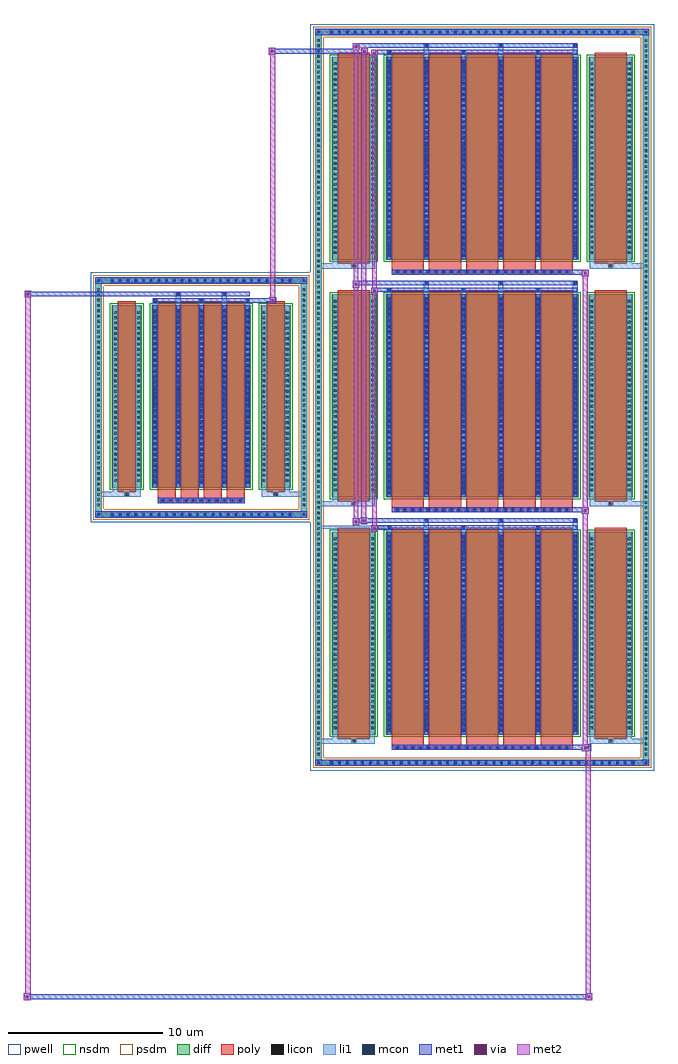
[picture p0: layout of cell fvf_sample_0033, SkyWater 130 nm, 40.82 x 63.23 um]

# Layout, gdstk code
import gdstk
lib = gdstk.Library(unit=1e-6, precision=1e-09)
def R(c, l, rs):  # rectangles x0, y0, x1, y1
    for r in rs: c.add(gdstk.rectangle(r[:2], r[2:], *l))
def A(c, l, x, y, w, h, nx, ny, dx, dy):  # array of equal rectangles
    R(c, l, [(x+i*dx, y+j*dy, x+i*dx+w, y+j*dy+h) for i in range(nx) for j in range(ny)])
def P(c, l, *ps):  # polygons
    for p in ps: c.add(gdstk.Polygon(p, *l))
pwell = (64, 44)
diff = (65, 20)
poly = (66, 20)
licon = (66, 44)
li1 = (67, 20)
mcon = (67, 44)
met1 = (68, 20)
via = (68, 44)
met2 = (69, 20)
nsdm = (93, 44)
psdm = (94, 20)

fvf_sample_0033 = lib.new_cell('fvf_sample_0033')
R(fvf_sample_0033, pwell, [(7.072,-24.188,29.332,24.188), (-7.172,-8.095,7.172,8.095)])
A(fvf_sample_0033, diff, 8.247, -23.878, 0.41, 0.41, 40, 2, 0.5, 47.346)
A(fvf_sample_0033, diff, 7.382, -23.325, 0.41, 0.41, 1, 137, 0, 0.34)
A(fvf_sample_0033, diff, 28.612, -23.325, 0.41, 0.41, 1, 137, 0, 0.34)
A(fvf_sample_0033, diff, 8.452, -21.857, 2.86, 13.146, 1, 3, 0, 15.392)
A(fvf_sample_0033, diff, 11.952, -21.857, 12.5, 13.146, 1, 3, 0, 15.392)
A(fvf_sample_0033, diff, 25.092, -21.857, 2.86, 13.146, 1, 3, 0, 15.392)
A(fvf_sample_0033, diff, -5.955, -7.785, 0.41, 0.41, 24, 2, 0.5, 15.16)
A(fvf_sample_0033, diff, -6.862, -7.175, 0.41, 0.41, 1, 42, 0, 0.34)
A(fvf_sample_0033, diff, 6.452, -7.175, 0.41, 0.41, 1, 42, 0, 0.34)
R(fvf_sample_0033, diff, [(8.247,-23.878,28.157,-23.468), (7.382,-23.325,7.792,23.325), (28.612,-23.325,29.022,23.325), (-5.955,-7.785,5.955,-7.375), (-6.862,-7.175,-6.452,7.175), (6.452,-7.175,6.862,7.175), (-5.791,-5.863,-3.849,5.979), (-3.209,-5.863,3.209,5.979), (3.849,-5.863,5.791,5.979), (-5.955,7.375,5.955,7.785), (8.247,23.468,28.157,23.878)])
P(fvf_sample_0033, diff, [(6.862,7.785),(-6.862,7.785),(-6.862,-7.375),(-6.452,-7.375),(-6.452,7.375),(6.452,7.375),(6.452,-7.375),(-6.452,-7.375),(-6.862,-7.375),(-6.862,-7.785),(6.862,-7.785)],
  [(29.022,23.878),(7.382,23.878),(7.382,-23.468),(7.792,-23.468),(7.792,23.468),(28.612,23.468),(28.612,-23.468),(7.792,-23.468),(7.382,-23.468),(7.382,-23.878),(29.022,-23.878)])
A(fvf_sample_0033, poly, 12.342, -22.838, 11.72, 0.33, 1, 3, 0, 15.392)
A(fvf_sample_0033, poly, 12.537, -22.838, 0.33, 0.33, 23, 3, 0.5, 15.392)
A(fvf_sample_0033, poly, 12.342, -22.508, 2.08, 0.401, 5, 3, 2.41, 15.392)
A(fvf_sample_0033, poly, 8.842, -22.107, 2.08, 13.646, 1, 3, 0, 15.392)
A(fvf_sample_0033, poly, 12.342, -22.107, 2.08, 13.646, 5, 3, 2.41, 15.392)
A(fvf_sample_0033, poly, 25.482, -22.107, 2.08, 13.646, 1, 3, 0, 15.392)
A(fvf_sample_0033, poly, -2.665, -6.844, 0.33, 0.33, 11, 1, 0.5, 0)
A(fvf_sample_0033, poly, -2.819, -6.514, 1.162, 0.401, 4, 1, 1.492, 0)
A(fvf_sample_0033, poly, -2.819, -6.113, 1.162, 12.342, 4, 1, 1.492, 0)
R(fvf_sample_0033, poly, [(9.717,-22.437,10.047,-22.107), (9.717,-22.437,10.047,-22.107), (26.357,-22.437,26.687,-22.107), (26.357,-22.437,26.687,-22.107), (9.717,-7.045,10.047,-6.715), (9.717,-7.045,10.047,-6.715), (26.357,-7.045,26.687,-6.715), (26.357,-7.045,26.687,-6.715), (-2.819,-6.844,2.819,-6.514), (-4.985,-6.443,-4.655,-6.113), (-4.985,-6.443,-4.655,-6.113), (4.655,-6.443,4.985,-6.113), (4.655,-6.443,4.985,-6.113), (-5.401,-6.113,-4.239,6.229), (4.239,-6.113,5.401,6.229), (9.717,8.347,10.047,8.677), (9.717,8.347,10.047,8.677), (26.357,8.347,26.687,8.677), (26.357,8.347,26.687,8.677)])
A(fvf_sample_0033, licon, 8.367, -23.758, 0.17, 0.17, 40, 2, 0.5, 47.346)
A(fvf_sample_0033, licon, 7.502, -23.205, 0.17, 0.17, 1, 137, 0, 0.34)
A(fvf_sample_0033, licon, 28.732, -23.205, 0.17, 0.17, 1, 137, 0, 0.34)
A(fvf_sample_0033, licon, 12.617, -22.758, 0.17, 0.17, 23, 3, 0.5, 15.392)
A(fvf_sample_0033, licon, 9.797, -22.357, 0.17, 0.17, 1, 3, 0, 15.392)
A(fvf_sample_0033, licon, 26.437, -22.357, 0.17, 0.17, 1, 3, 0, 15.392)
A(fvf_sample_0033, licon, 8.592, -21.489, 0.17, 0.17, 1, 37, 0, 0.34)
A(fvf_sample_0033, licon, 11.002, -21.489, 0.17, 0.17, 1, 37, 0, 0.34)
A(fvf_sample_0033, licon, 12.092, -21.489, 0.17, 0.17, 6, 37, 2.41, 0.34)
A(fvf_sample_0033, licon, 25.232, -21.489, 0.17, 0.17, 1, 37, 0, 0.34)
A(fvf_sample_0033, licon, 27.642, -21.489, 0.17, 0.17, 1, 37, 0, 0.34)
A(fvf_sample_0033, licon, -5.835, -7.665, 0.17, 0.17, 24, 2, 0.5, 15.16)
A(fvf_sample_0033, licon, -6.742, -7.055, 0.17, 0.17, 1, 42, 0, 0.34)
A(fvf_sample_0033, licon, 6.572, -7.055, 0.17, 0.17, 1, 42, 0, 0.34)
A(fvf_sample_0033, licon, -2.585, -6.764, 0.17, 0.17, 11, 1, 0.5, 0)
A(fvf_sample_0033, licon, 8.592, -6.097, 0.17, 0.17, 1, 37, 0, 0.34)
A(fvf_sample_0033, licon, 11.002, -6.097, 0.17, 0.17, 1, 37, 0, 0.34)
A(fvf_sample_0033, licon, 12.092, -6.097, 0.17, 0.17, 6, 37, 2.41, 0.34)
A(fvf_sample_0033, licon, 25.232, -6.097, 0.17, 0.17, 1, 37, 0, 0.34)
A(fvf_sample_0033, licon, 27.642, -6.097, 0.17, 0.17, 1, 37, 0, 0.34)
A(fvf_sample_0033, licon, -5.651, -5.467, 0.17, 0.17, 1, 33, 0, 0.34)
A(fvf_sample_0033, licon, -4.159, -5.467, 0.17, 0.17, 1, 33, 0, 0.34)
A(fvf_sample_0033, licon, -3.069, -5.467, 0.17, 0.17, 5, 33, 1.492, 0.34)
A(fvf_sample_0033, licon, 3.989, -5.467, 0.17, 0.17, 1, 33, 0, 0.34)
A(fvf_sample_0033, licon, 5.481, -5.467, 0.17, 0.17, 1, 33, 0, 0.34)
A(fvf_sample_0033, licon, 8.592, 9.295, 0.17, 0.17, 1, 37, 0, 0.34)
A(fvf_sample_0033, licon, 11.002, 9.295, 0.17, 0.17, 1, 37, 0, 0.34)
A(fvf_sample_0033, licon, 12.092, 9.295, 0.17, 0.17, 6, 37, 2.41, 0.34)
A(fvf_sample_0033, licon, 25.232, 9.295, 0.17, 0.17, 1, 37, 0, 0.34)
A(fvf_sample_0033, licon, 27.642, 9.295, 0.17, 0.17, 1, 37, 0, 0.34)
R(fvf_sample_0033, licon, [(-4.905,-6.363,-4.735,-6.193), (4.735,-6.363,4.905,-6.193)])
A(fvf_sample_0033, li1, 8.287, -23.838, 0.33, 0.33, 40, 2, 0.5, 47.346)
A(fvf_sample_0033, li1, 7.422, -23.285, 0.33, 0.33, 1, 137, 0, 0.34)
A(fvf_sample_0033, li1, 28.652, -23.285, 0.33, 0.33, 1, 137, 0, 0.34)
A(fvf_sample_0033, li1, 12.537, -22.838, 0.33, 0.33, 23, 3, 0.5, 15.392)
A(fvf_sample_0033, li1, 7.382, -22.437, 2.335, 0.33, 1, 3, 0, 15.392)
A(fvf_sample_0033, li1, 8.512, -22.437, 0.33, 0.58, 1, 3, 0, 15.392)
A(fvf_sample_0033, li1, 8.512, -22.437, 1.205, 0.33, 1, 3, 0, 15.392)
A(fvf_sample_0033, li1, 9.717, -22.437, 0.33, 0.33, 1, 3, 0, 15.392)
A(fvf_sample_0033, li1, 10.047, -22.437, 1.205, 0.33, 1, 3, 0, 15.392)
A(fvf_sample_0033, li1, 10.922, -22.437, 0.33, 0.58, 1, 3, 0, 15.392)
A(fvf_sample_0033, li1, 25.152, -22.437, 0.33, 0.58, 1, 3, 0, 15.392)
A(fvf_sample_0033, li1, 25.152, -22.437, 1.205, 0.33, 1, 3, 0, 15.392)
A(fvf_sample_0033, li1, 26.357, -22.437, 0.33, 0.33, 1, 3, 0, 15.392)
A(fvf_sample_0033, li1, 26.357, -22.437, 2.665, 0.33, 1, 3, 0, 15.392)
A(fvf_sample_0033, li1, 26.687, -22.437, 1.205, 0.33, 1, 3, 0, 15.392)
A(fvf_sample_0033, li1, 27.562, -22.437, 0.33, 0.58, 1, 3, 0, 15.392)
A(fvf_sample_0033, li1, 8.512, -21.857, 0.33, 13.146, 1, 3, 0, 15.392)
A(fvf_sample_0033, li1, 10.922, -21.857, 0.33, 13.146, 1, 3, 0, 15.392)
A(fvf_sample_0033, li1, 12.012, -21.857, 0.33, 13.146, 6, 3, 2.41, 15.392)
A(fvf_sample_0033, li1, 25.152, -21.857, 0.33, 13.146, 1, 3, 0, 15.392)
A(fvf_sample_0033, li1, 27.562, -21.857, 0.33, 13.146, 1, 3, 0, 15.392)
A(fvf_sample_0033, li1, 12.092, -21.669, 0.17, 0.17, 6, 36, 2.41, 0.36)
A(fvf_sample_0033, li1, 12.092, -21.669, 0.17, 12.77, 6, 3, 2.41, 15.392)
A(fvf_sample_0033, li1, 8.512, -21.569, 0.33, 0.33, 1, 37, 0, 0.34)
A(fvf_sample_0033, li1, 10.922, -21.569, 0.33, 0.33, 1, 37, 0, 0.34)
A(fvf_sample_0033, li1, 12.012, -21.569, 0.33, 0.33, 6, 37, 2.41, 0.34)
A(fvf_sample_0033, li1, 25.152, -21.569, 0.33, 0.33, 1, 37, 0, 0.34)
A(fvf_sample_0033, li1, 27.562, -21.569, 0.33, 0.33, 1, 37, 0, 0.34)
A(fvf_sample_0033, li1, 12.012, -8.711, 0.33, 0.375, 3, 3, 4.82, 15.392)
A(fvf_sample_0033, li1, 14.422, -8.711, 0.33, 0.805, 3, 3, 4.82, 15.392)
A(fvf_sample_0033, li1, 12.092, -8.506, 0.17, 0.17, 3, 3, 4.82, 15.392)
A(fvf_sample_0033, li1, 14.502, -8.076, 0.17, 0.17, 3, 3, 4.82, 15.392)
A(fvf_sample_0033, li1, -5.915, -7.745, 0.33, 0.33, 24, 2, 0.5, 15.16)
A(fvf_sample_0033, li1, -6.822, -7.135, 0.33, 0.33, 1, 42, 0, 0.34)
A(fvf_sample_0033, li1, 6.492, -7.135, 0.33, 0.33, 1, 42, 0, 0.34)
A(fvf_sample_0033, li1, -2.665, -6.844, 0.33, 0.33, 11, 1, 0.5, 0)
A(fvf_sample_0033, li1, 12.092, -6.277, 0.17, 0.17, 6, 36, 2.41, 0.36)
A(fvf_sample_0033, li1, 8.512, -6.177, 0.33, 0.33, 1, 37, 0, 0.34)
A(fvf_sample_0033, li1, 10.922, -6.177, 0.33, 0.33, 1, 37, 0, 0.34)
A(fvf_sample_0033, li1, 12.012, -6.177, 0.33, 0.33, 6, 37, 2.41, 0.34)
A(fvf_sample_0033, li1, 25.152, -6.177, 0.33, 0.33, 1, 37, 0, 0.34)
A(fvf_sample_0033, li1, 27.562, -6.177, 0.33, 0.33, 1, 37, 0, 0.34)
A(fvf_sample_0033, li1, -3.149, -5.863, 0.33, 11.842, 5, 1, 1.492, 0)
A(fvf_sample_0033, li1, -3.069, -5.607, 0.17, 0.17, 5, 32, 1.492, 0.36)
A(fvf_sample_0033, li1, -3.069, -5.607, 0.17, 11.33, 5, 1, 1.492, 0)
A(fvf_sample_0033, li1, -5.731, -5.547, 0.33, 0.33, 1, 33, 0, 0.34)
A(fvf_sample_0033, li1, -4.239, -5.547, 0.33, 0.33, 1, 33, 0, 0.34)
A(fvf_sample_0033, li1, -3.149, -5.547, 0.33, 0.33, 5, 33, 1.492, 0.34)
A(fvf_sample_0033, li1, 3.909, -5.547, 0.33, 0.33, 1, 33, 0, 0.34)
A(fvf_sample_0033, li1, 5.401, -5.547, 0.33, 0.33, 1, 33, 0, 0.34)
A(fvf_sample_0033, li1, -3.149, 5.979, 0.33, 0.375, 3, 1, 2.984, 0)
A(fvf_sample_0033, li1, -3.069, 6.184, 0.17, 0.17, 3, 1, 2.984, 0)
A(fvf_sample_0033, li1, 12.092, 9.115, 0.17, 0.17, 6, 36, 2.41, 0.36)
A(fvf_sample_0033, li1, 8.512, 9.215, 0.33, 0.33, 1, 37, 0, 0.34)
A(fvf_sample_0033, li1, 10.922, 9.215, 0.33, 0.33, 1, 37, 0, 0.34)
A(fvf_sample_0033, li1, 12.012, 9.215, 0.33, 0.33, 6, 37, 2.41, 0.34)
A(fvf_sample_0033, li1, 25.152, 9.215, 0.33, 0.33, 1, 37, 0, 0.34)
A(fvf_sample_0033, li1, 27.562, 9.215, 0.33, 0.33, 1, 37, 0, 0.34)
R(fvf_sample_0033, li1, [(7.382,-23.878,7.792,-23.468), (28.612,-23.878,29.022,-23.468), (8.287,-23.838,28.117,-23.508), (7.502,-23.758,7.672,-23.588), (7.502,-23.758,7.672,-23.588), (28.732,-23.758,28.902,-23.588), (28.732,-23.758,28.902,-23.588), (7.382,-23.468,7.792,23.468), (28.612,-23.468,29.022,23.468), (12.032,-8.566,12.322,-8.276), (7.382,-8.521,12.032,-8.321), (12.092,-8.506,12.262,-8.336), (-6.862,-7.785,-6.452,-7.375), (6.452,-7.785,6.862,-7.375), (-5.915,-7.745,5.915,-7.415), (-6.742,-7.665,-6.572,-7.495), (-6.742,-7.665,-6.572,-7.495), (6.572,-7.665,6.742,-7.495), (6.572,-7.665,6.742,-7.495), (-6.862,-7.375,-6.452,7.375), (6.452,-7.375,6.862,7.375), (-6.862,-6.443,-4.985,-6.113), (-5.731,-6.443,-4.985,-6.113), (-5.731,-6.443,-5.401,-5.863), (-4.985,-6.443,-4.655,-6.113), (-4.655,-6.443,-3.909,-6.113), (-4.239,-6.443,-3.909,-5.863), (3.909,-6.443,4.655,-6.113), (3.909,-6.443,4.239,-5.863), (4.655,-6.443,4.985,-6.113), (4.655,-6.443,6.862,-6.113), (4.985,-6.443,5.731,-6.113), (5.401,-6.443,5.731,-5.863), (-5.731,-5.863,-5.401,5.979), (-4.239,-5.863,-3.909,5.979), (3.909,-5.863,4.239,5.979), (5.401,-5.863,5.731,5.979), (-1.657,5.979,-1.327,6.784), (1.327,5.979,1.657,6.784), (-1.577,6.614,-1.407,6.784), (1.407,6.614,1.577,6.784), (-6.862,7.375,-6.452,7.785), (6.452,7.375,6.862,7.785), (-5.915,7.415,5.915,7.745), (-6.742,7.495,-6.572,7.665), (-6.742,7.495,-6.572,7.665), (6.572,7.495,6.742,7.665), (6.572,7.495,6.742,7.665), (7.382,23.468,7.792,23.878), (28.612,23.468,29.022,23.878), (8.287,23.508,28.117,23.838), (7.502,23.588,7.672,23.758), (7.502,23.588,7.672,23.758), (28.732,23.588,28.902,23.758), (28.732,23.588,28.902,23.758)])
A(fvf_sample_0033, mcon, 8.367, -23.758, 0.17, 0.17, 40, 2, 0.5, 47.346)
A(fvf_sample_0033, mcon, 12.617, -22.758, 0.17, 0.17, 23, 3, 0.5, 15.392)
A(fvf_sample_0033, mcon, 12.092, -21.669, 0.17, 0.17, 6, 36, 2.41, 0.36)
A(fvf_sample_0033, mcon, 12.092, -8.506, 0.17, 0.17, 3, 3, 4.82, 15.392)
A(fvf_sample_0033, mcon, 14.502, -8.076, 0.17, 0.17, 3, 3, 4.82, 15.392)
A(fvf_sample_0033, mcon, -5.835, -7.665, 0.17, 0.17, 24, 2, 0.5, 15.16)
A(fvf_sample_0033, mcon, -2.585, -6.764, 0.17, 0.17, 11, 1, 0.5, 0)
A(fvf_sample_0033, mcon, 12.092, -6.277, 0.17, 0.17, 6, 36, 2.41, 0.36)
A(fvf_sample_0033, mcon, -3.069, -5.607, 0.17, 0.17, 5, 32, 1.492, 0.36)
A(fvf_sample_0033, mcon, -3.069, 6.184, 0.17, 0.17, 3, 1, 2.984, 0)
A(fvf_sample_0033, mcon, 12.092, 9.115, 0.17, 0.17, 6, 36, 2.41, 0.36)
R(fvf_sample_0033, mcon, [(7.502,-23.758,7.672,-23.588), (28.732,-23.758,28.902,-23.588), (12.092,-8.506,12.262,-8.336), (-6.742,-7.665,-6.572,-7.495), (6.572,-7.665,6.742,-7.495), (-1.577,6.614,-1.407,6.784), (1.407,6.614,1.577,6.784), (-6.742,7.495,-6.572,7.665), (6.572,7.495,6.742,7.665), (7.502,23.588,7.672,23.758), (28.732,23.588,28.902,23.758)])
A(fvf_sample_0033, met1, 8.307, -23.818, 0.29, 0.29, 40, 2, 0.5, 47.346)
A(fvf_sample_0033, met1, 12.342, -22.838, 11.72, 0.33, 1, 3, 0, 15.392)
A(fvf_sample_0033, met1, 12.557, -22.818, 0.29, 0.29, 23, 3, 0.5, 15.392)
A(fvf_sample_0033, met1, 12.032, -21.857, 0.29, 13.146, 6, 3, 2.41, 15.392)
A(fvf_sample_0033, met1, 12.032, -21.729, 0.29, 0.29, 6, 36, 2.41, 0.36)
A(fvf_sample_0033, met1, 12.032, -8.566, 0.29, 0.29, 3, 3, 4.82, 15.392)
A(fvf_sample_0033, met1, 14.442, -8.136, 0.29, 0.29, 3, 3, 4.82, 15.392)
A(fvf_sample_0033, met1, -5.895, -7.725, 0.29, 0.29, 24, 2, 0.5, 15.16)
A(fvf_sample_0033, met1, -2.645, -6.824, 0.29, 0.29, 11, 1, 0.5, 0)
A(fvf_sample_0033, met1, 12.032, -6.337, 0.29, 0.29, 6, 36, 2.41, 0.36)
A(fvf_sample_0033, met1, -3.129, -5.863, 0.29, 11.842, 5, 1, 1.492, 0)
A(fvf_sample_0033, met1, -3.129, -5.667, 0.29, 0.29, 5, 32, 1.492, 0.36)
A(fvf_sample_0033, met1, -3.129, 6.124, 0.29, 0.29, 3, 1, 2.984, 0)
A(fvf_sample_0033, met1, 12.032, 9.055, 0.29, 0.29, 6, 36, 2.41, 0.36)
R(fvf_sample_0033, met1, [(-11.489,-39.042,-11.059,-38.612), (24.897,-39.042,25.327,-38.612), (-11.489,-38.992,25.327,-38.662), (-11.489,-38.662,-11.059,-38.612), (24.897,-38.662,25.327,-38.612), (7.382,-23.878,7.792,-23.468), (7.382,-23.878,7.792,-23.468), (7.792,-23.878,28.612,-23.468), (28.612,-23.878,29.022,-23.468), (28.612,-23.878,29.022,-23.468), (7.442,-23.818,7.732,-23.528), (28.672,-23.818,28.962,-23.528), (24.662,-22.938,25.092,-22.508), (24.847,-22.888,25.277,-22.458), (24.062,-22.838,24.847,-22.508), (24.062,-22.838,25.092,-22.508), (11.002,-8.706,11.432,-8.276), (11.002,-8.566,12.032,-8.276), (12.032,-8.566,12.322,-8.276), (12.032,-8.566,24.372,-8.276), (9.802,-8.276,10.232,-7.846), (10.317,-8.206,10.747,-7.776), (9.802,-8.136,12.032,-7.846), (10.747,-8.136,12.032,-7.846), (12.032,-8.136,24.372,-7.846), (-6.862,-7.785,-6.452,-7.375), (-6.862,-7.785,-6.452,-7.375), (-6.452,-7.785,6.452,-7.375), (6.452,-7.785,6.862,-7.375), (6.452,-7.785,6.862,-7.375), (-6.802,-7.725,-6.512,-7.435), (6.512,-7.725,6.802,-7.435), (24.662,-7.546,25.092,-7.116), (24.662,-7.546,25.092,-7.116), (24.062,-7.446,25.092,-7.116), (24.062,-7.446,25.092,-7.116), (-2.819,-6.844,2.819,-6.514), (4.414,6.054,4.844,6.484), (-3.129,6.124,3.129,6.414), (3.129,6.124,4.414,6.414), (-11.439,6.484,-11.009,6.914), (-11.009,6.554,-3.129,6.844), (-3.129,6.554,3.129,6.844), (-1.637,6.554,-1.347,6.844), (1.347,6.554,1.637,6.844), (11.002,6.686,11.432,7.116), (11.002,6.686,11.432,7.116), (11.002,6.826,12.032,7.116), (11.002,6.826,12.032,7.116), (12.032,6.826,24.372,7.116), (9.802,7.116,10.232,7.546), (9.802,7.116,10.232,7.546), (9.802,7.256,12.032,7.546), (9.802,7.256,12.032,7.546), (12.032,7.256,24.372,7.546), (-6.862,7.375,-6.452,7.785), (-6.862,7.375,-6.452,7.785), (-6.452,7.375,6.452,7.785), (6.452,7.375,6.862,7.785), (6.452,7.375,6.862,7.785), (-6.802,7.435,-6.512,7.725), (6.512,7.435,6.802,7.725), (24.662,7.846,25.092,8.276), (24.062,7.946,25.092,8.276), (11.002,22.078,11.432,22.508), (4.364,22.208,4.794,22.638), (10.367,22.208,10.797,22.638), (11.002,22.218,12.032,22.508), (12.032,22.218,24.372,22.508), (4.364,22.258,10.797,22.588), (9.802,22.508,10.232,22.938), (4.364,22.588,4.794,22.638), (10.367,22.588,10.797,22.638), (9.802,22.648,12.032,22.938), (12.032,22.648,24.372,22.938), (7.382,23.468,7.792,23.878), (7.382,23.468,7.792,23.878), (7.792,23.468,28.612,23.878), (28.612,23.468,29.022,23.878), (28.612,23.468,29.022,23.878), (7.442,23.528,7.732,23.818), (28.672,23.528,28.962,23.818)])
R(fvf_sample_0033, via, [(-11.349,-38.902,-11.199,-38.752), (25.037,-38.902,25.187,-38.752), (24.802,-22.798,24.952,-22.648), (24.987,-22.748,25.137,-22.598), (11.142,-8.566,11.292,-8.416), (9.942,-8.136,10.092,-7.986), (10.457,-8.066,10.607,-7.916), (24.802,-7.406,24.952,-7.256), (24.802,-7.406,24.952,-7.256), (4.554,6.194,4.704,6.344), (-11.299,6.624,-11.149,6.774), (11.142,6.826,11.292,6.976), (11.142,6.826,11.292,6.976), (9.942,7.256,10.092,7.406), (9.942,7.256,10.092,7.406), (24.802,7.986,24.952,8.136), (11.142,22.218,11.292,22.368), (4.504,22.348,4.654,22.498), (10.507,22.348,10.657,22.498), (9.942,22.648,10.092,22.798)])
R(fvf_sample_0033, met2, [(-11.489,-39.042,-11.059,-38.612), (-11.389,-39.042,-11.059,6.534), (24.897,-39.042,25.327,-38.612), (24.897,-39.042,25.227,-22.838), (-11.439,-38.992,-11.109,-38.662), (24.947,-38.992,25.277,-38.662), (24.662,-22.938,25.092,-22.508), (24.712,-22.938,25.042,-7.116), (25.042,-22.938,25.092,-22.508), (24.712,-22.888,25.042,-22.558), (24.897,-22.838,25.227,-22.508), (11.002,-8.706,11.432,-8.276), (11.072,-8.706,11.362,7.116), (11.362,-8.706,11.432,-8.276), (11.052,-8.656,11.382,-8.326), (9.802,-8.276,10.232,-7.846), (9.872,-8.276,10.162,7.546), (10.162,-8.276,10.232,-7.846), (9.852,-8.226,10.182,-7.896), (10.367,-8.156,10.697,-7.826), (10.367,-7.826,10.697,22.638), (24.662,-7.546,25.092,-7.116), (24.662,-7.546,25.092,-7.116), (24.712,-7.546,25.042,8.276), (25.042,-7.546,25.092,-7.116), (25.042,-7.546,25.092,-7.116), (24.712,-7.496,25.042,-7.166), (24.712,-7.496,25.042,-7.166), (4.464,6.104,4.794,6.434), (4.464,6.434,4.794,22.638), (-11.389,6.534,-11.059,6.864), (11.002,6.686,11.432,7.116), (11.002,6.686,11.432,7.116), (11.072,6.686,11.362,22.508), (11.362,6.686,11.432,7.116), (11.362,6.686,11.432,7.116), (11.052,6.736,11.382,7.066), (11.052,6.736,11.382,7.066), (9.802,7.116,10.232,7.546), (9.802,7.116,10.232,7.546), (9.872,7.116,10.162,22.938), (10.162,7.116,10.232,7.546), (10.162,7.116,10.232,7.546), (9.852,7.166,10.182,7.496), (9.852,7.166,10.182,7.496), (24.662,7.846,25.092,8.276), (25.042,7.846,25.092,8.276), (24.712,7.896,25.042,8.226), (11.002,22.078,11.432,22.508), (11.362,22.078,11.432,22.508), (11.052,22.128,11.382,22.458), (4.364,22.208,4.794,22.638), (10.367,22.208,10.797,22.638), (4.414,22.258,4.744,22.588), (10.417,22.258,10.747,22.588), (9.802,22.508,10.232,22.938), (10.162,22.508,10.232,22.938), (9.852,22.558,10.182,22.888)])
A(fvf_sample_0033, nsdm, 8.322, -21.987, 3.12, 13.406, 1, 3, 0, 15.392)
A(fvf_sample_0033, nsdm, 11.822, -21.987, 12.76, 13.406, 1, 3, 0, 15.392)
A(fvf_sample_0033, nsdm, 24.962, -21.987, 3.12, 13.406, 1, 3, 0, 15.392)
R(fvf_sample_0033, nsdm, [(-5.921,-5.993,-3.719,6.109), (-3.339,-5.993,3.339,6.109), (3.719,-5.993,5.921,6.109)])
P(fvf_sample_0033, psdm, [(6.992,7.915),(-6.992,7.915),(-6.992,-7.245),(-6.322,-7.245),(-6.322,7.245),(6.322,7.245),(6.322,-7.245),(-6.322,-7.245),(-6.992,-7.245),(-6.992,-7.915),(6.992,-7.915)],
  [(29.152,24.008),(7.252,24.008),(7.252,-23.338),(7.922,-23.338),(7.922,23.338),(28.482,23.338),(28.482,-23.338),(7.922,-23.338),(7.252,-23.338),(7.252,-24.008),(29.152,-24.008)])

lib.write_gds('fvf_sample_0033.gds')
